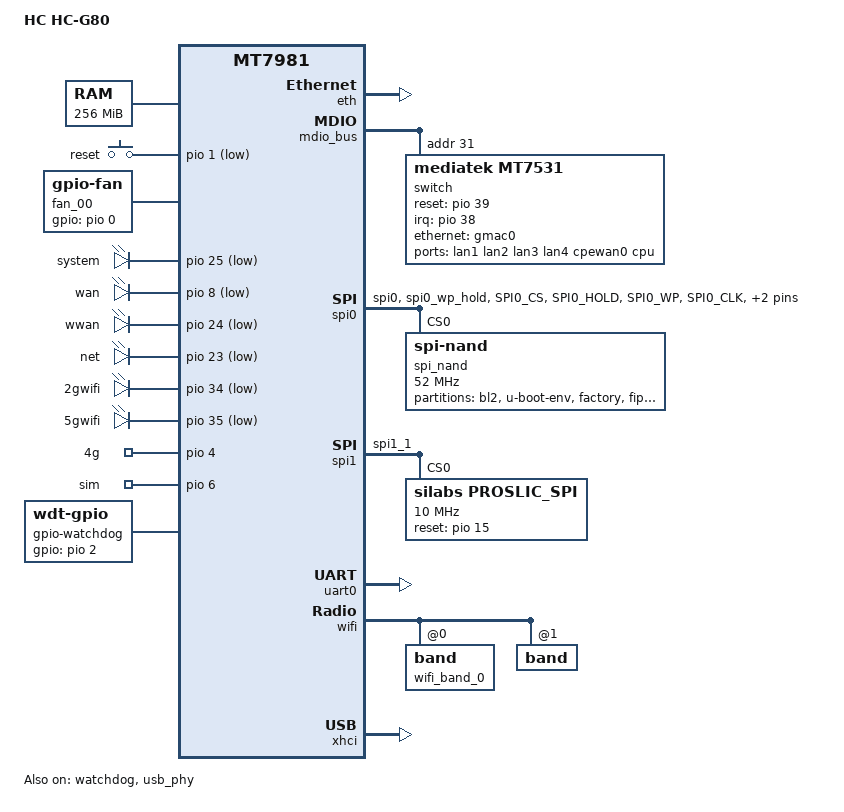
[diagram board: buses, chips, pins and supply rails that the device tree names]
/dts-v1/;
#include <dt-bindings/gpio/gpio.h>
#include <dt-bindings/leds/common.h>
#include "mt7981.dtsi"

/ {
	model = "HC HC-G80";
	compatible = "hc,hc-g80", "mediatek,mt7981";

	aliases {
		serial0 = &uart0;
		led-running = &led_system;
	};

	memory@40000000 {
		reg = <0 0x40000000 0 0x10000000>;
	};

	chosen: chosen {
		stdout-path = "serial0:115200n8";
		bootargs = "earlycon=uart8250,mmio32,0x11002000 console=ttyS0,115200n8 loglevel=8";
	};

	gpio-keys {
		compatible = "gpio-keys";
		button-reset {
			label = "reset";
			linux,code = <KEY_RESTART>;
			gpios = <&pio 1 GPIO_ACTIVE_LOW>;
		};		
	};

	fan_00: gpio-fan {
		compatible = "gpio-fan";

		pinctrl-0 = <&fan_pin>;
		pinctrl-names = "default";
		gpios = <&pio 0 GPIO_ACTIVE_HIGH>;
		/* We don't know the exact rpm, just use dummy values here. */
		gpio-fan,speed-map = <0 0>, <1 1>, <2 2>;
		#cooling-cells = <2>;
	};

	reserved-memory {
		/delete-node/ ramoops@42ff0000;
	};

    gpio-leds {
		compatible = "gpio-leds";
		led_system: system {
			label = "system";
			gpios = <&pio 25 GPIO_ACTIVE_LOW>;
		};

		wan {
			label = "wan";
			gpios = <&pio 8 GPIO_ACTIVE_LOW>;
		};

		wwan {
			label = "wwan";
			gpios = <&pio 24 GPIO_ACTIVE_LOW>;
		};

		net {
			label = "net";
			gpios = <&pio 23 GPIO_ACTIVE_LOW>;
		};

		2gwifi {
			label = "2gwifi";
			gpios = <&pio 34 GPIO_ACTIVE_LOW>;
		};

		5gwifi {
			label = "5gwifi";
			gpios = <&pio 35 GPIO_ACTIVE_LOW>;
		};
    };

    gpio-export {
		compatible = "gpio-export";
		#size-cells = <0>;

		4g {
				gpio-export,name = "4g";
				gpio-export,output = <1>;
				gpios = <&pio 4 GPIO_ACTIVE_HIGH>;
		};

		sim {
				gpio-export,name = "sim";
				gpio-export,output = <1>;
				gpios = <&pio 6 GPIO_ACTIVE_HIGH>;
		};
    };

	gpio-watchdog {
		compatible = "linux,wdt-gpio";
		gpios = <&pio 2 GPIO_ACTIVE_HIGH>;
		hw_algo = "toggle";
		hw_margin_ms = <1000>;
		always-running;
	};
};


&cpu_thermal {
    trips {
		cpu_trip_active_low: active-low {
            temperature = <65000>;
            hysteresis = <2000>;
            type = "active";
        };

		cpu_trip_active_med: active-med {
            temperature = <70000>;
            hysteresis = <2000>;
            type = "active";
        };

		cpu_trip_active_high: active-high {
            temperature = <85000>;
            hysteresis = <2000>;
            type = "hot";
        };
    };

    cooling-maps {
        cpu-active-low {
            cooling-device = <&fan_00 1 1>;
            trip = <&cpu_trip_active_low>;
        };

        cpu-active-med {
            cooling-device = <&fan_00 1 1>;
            trip = <&cpu_trip_active_med>;
        };

        cpu-active-high {
            cooling-device = <&fan_00 1 1>;
            trip = <&cpu_trip_active_high>;
        };
    };
};

&watchdog {
	status = "okay";	
};

&eth {
	status = "okay";

	gmac0: mac@0 {
		compatible = "mediatek,eth-mac";
		reg = <0>;
		phy-mode = "2500base-x";

		nvmem-cells = <&macaddr_lan>;
		nvmem-cell-names = "mac-address";

		fixed-link {
			speed = <2500>;
			full-duplex;
			pause;
		};
	};

	gmac1: mac@1 {
		compatible = "mediatek,eth-mac";
		reg = <1>;
		phy-mode = "gmii";
		phy-handle = <&int_gbe_phy>;

		nvmem-cells = <&macaddr_wan>;
		nvmem-cell-names = "mac-address";
	};
};

&mdio_bus {
	switch: switch@1f {
		compatible = "mediatek,mt7531";
		reg = <31>;
		reset-gpios = <&pio 39 GPIO_ACTIVE_HIGH>;
		interrupt-controller;
		#interrupt-cells = <1>;
		interrupt-parent = <&pio>;
		interrupts = <38 IRQ_TYPE_LEVEL_HIGH>;
	};
};


&switch {
    ports {
            #address-cells = <1>;
            #size-cells = <0>;

            port@0 {
                    reg = <0>;
                    label = "lan1";
            };

            port@1 {
                    reg = <1>;
                    label = "lan2";
            };

            port@2 {
                    reg = <2>;
                    label = "lan3";
            };

            port@3 {
                    reg = <3>;
                    label = "lan4";
            };

            port@4 {
                    reg = <4>;
                    label = "cpewan0";
            };

            port@6 {
                reg = <6>;
                label = "cpu";
                ethernet = <&gmac0>;
                phy-mode = "2500base-x";

                fixed-link {
                        speed = <2500>;
                        full-duplex;
                        pause;
                };
            };
    };
};

&spi0 {
	pinctrl-names = "default";
	pinctrl-0 = <&spi0_flash_pins>;
	status = "okay";
	spi_nand: spi_nand@0 {
		#address-cells = <1>;
		#size-cells = <1>;
		compatible = "spi-nand";
		reg = <0>;
		spi-max-frequency = <52000000>;

		spi-cal-enable;
		spi-cal-mode = "read-data";
		spi-cal-datalen = <7>;
		spi-cal-data = /bits/ 8 <0x53 0x50 0x49 0x4E 0x41 0x4E 0x44>;
		spi-cal-addrlen = <5>;
		spi-cal-addr = /bits/ 32 <0x0 0x0 0x0 0x0 0x0>;

		spi-tx-bus-width = <4>;
		spi-rx-bus-width = <4>;
		mediatek,nmbm;
		mediatek,bmt-max-ratio = <1>;
		mediatek,bmt-max-reserved-blocks = <64>;

		partitions {
			compatible = "fixed-partitions";
			#address-cells = <1>;
			#size-cells = <1>;

			partition@0 {
				label = "bl2";
				reg = <0x00000 0x0100000>;
				read-only;
			};

			partition@100000 {
				label = "u-boot-env";
				reg = <0x0100000 0x0080000>;
				read-only;
			};

			factory: partition@180000 {
				label = "factory";
				reg = <0x180000 0x0200000>;
				read-only;
				nvmem-layout {
					compatible = "fixed-layout";
					#address-cells = <1>;
					#size-cells = <1>;

					macaddr_wifi: macaddr@4 {
						reg = <0x4 0x6>;
						compatible = "mac-base";
						#nvmem-cell-cells = <1>;
					};

					macaddr_wan: macaddr@24 {
						reg = <0x24 0x6>;
					};

					macaddr_lan: macaddr@2a {
						reg = <0x2a 0x6>;
					};

				};
			};

			partition@380000 {
				label = "fip";
				reg = <0x380000 0x0200000>;
			};

			partition@580000 {
				label = "ubi";
				reg = <0x580000 0x20000000>;
			};
		};

	};
};

&spi1 {
	pinctrl-names = "default";
	pinctrl-0 = <&spic_pins>;
	status = "okay";

	proslic_spi: proslic_spi@0 {
		compatible = "silabs,proslic_spi";
		reg = <0>;
		spi-max-frequency = <10000000>;
		spi-cpha = <1>;
		spi-cpol = <1>;
		channel_count = <1>;
		debug_level = <4>;       /* 1 = TRC, 2 = DBG, 4 = ERR */
		reset_gpio = <&pio 15 0>;
		ig,enable-spi = <1>;     /* 1: Enable, 0: Disable */
	};
};

&pio {
	fan_pin: fan_pin {
		mux {
			function = "gpio";
			groups = "fan";
		};
		
		power {
			pins = "GPIO_WPS";
			drive-strength = <MTK_DRIVE_8mA>;
			mediatek,pull-up-adv = <1>;
		};
	};

	spi0_flash_pins: spi0-pins {
		mux {
			function = "spi";
			groups = "spi0", "spi0_wp_hold";
		};

		conf-pu {
			pins = "SPI0_CS", "SPI0_HOLD", "SPI0_WP";
			drive-strength = <MTK_DRIVE_8mA>;
			bias-pull-up = <MTK_PUPD_SET_R1R0_11>;
		};

		conf-pd {
			pins = "SPI0_CLK", "SPI0_MOSI", "SPI0_MISO";
			drive-strength = <MTK_DRIVE_8mA>;
			bias-pull-down = <MTK_PUPD_SET_R1R0_11>;
		};
	};

	spic_pins: spi1-pins {
		mux {
			//function = "spi";
			function = "gpio";
			groups = "spi1_1";
		};
	};
};


&uart0 {
	status = "okay";
};

&usb_phy {
	status = "okay";
};

&watchdog {
	status = "okay";
};

&wifi {
	status = "okay";
	mediatek,mtd-eeprom = <&factory 0x0>;

	wifi_band_0: band@0 {
		reg = <0>;
		nvmem-cells = <&macaddr_wifi 0>;
		nvmem-cell-names = "mac-address";
	};

	band@1 {
		reg = <1>;
		nvmem-cells = <&macaddr_wifi 1>;
		nvmem-cell-names = "mac-address";
	};
};

&xhci {
	status = "okay";
};
